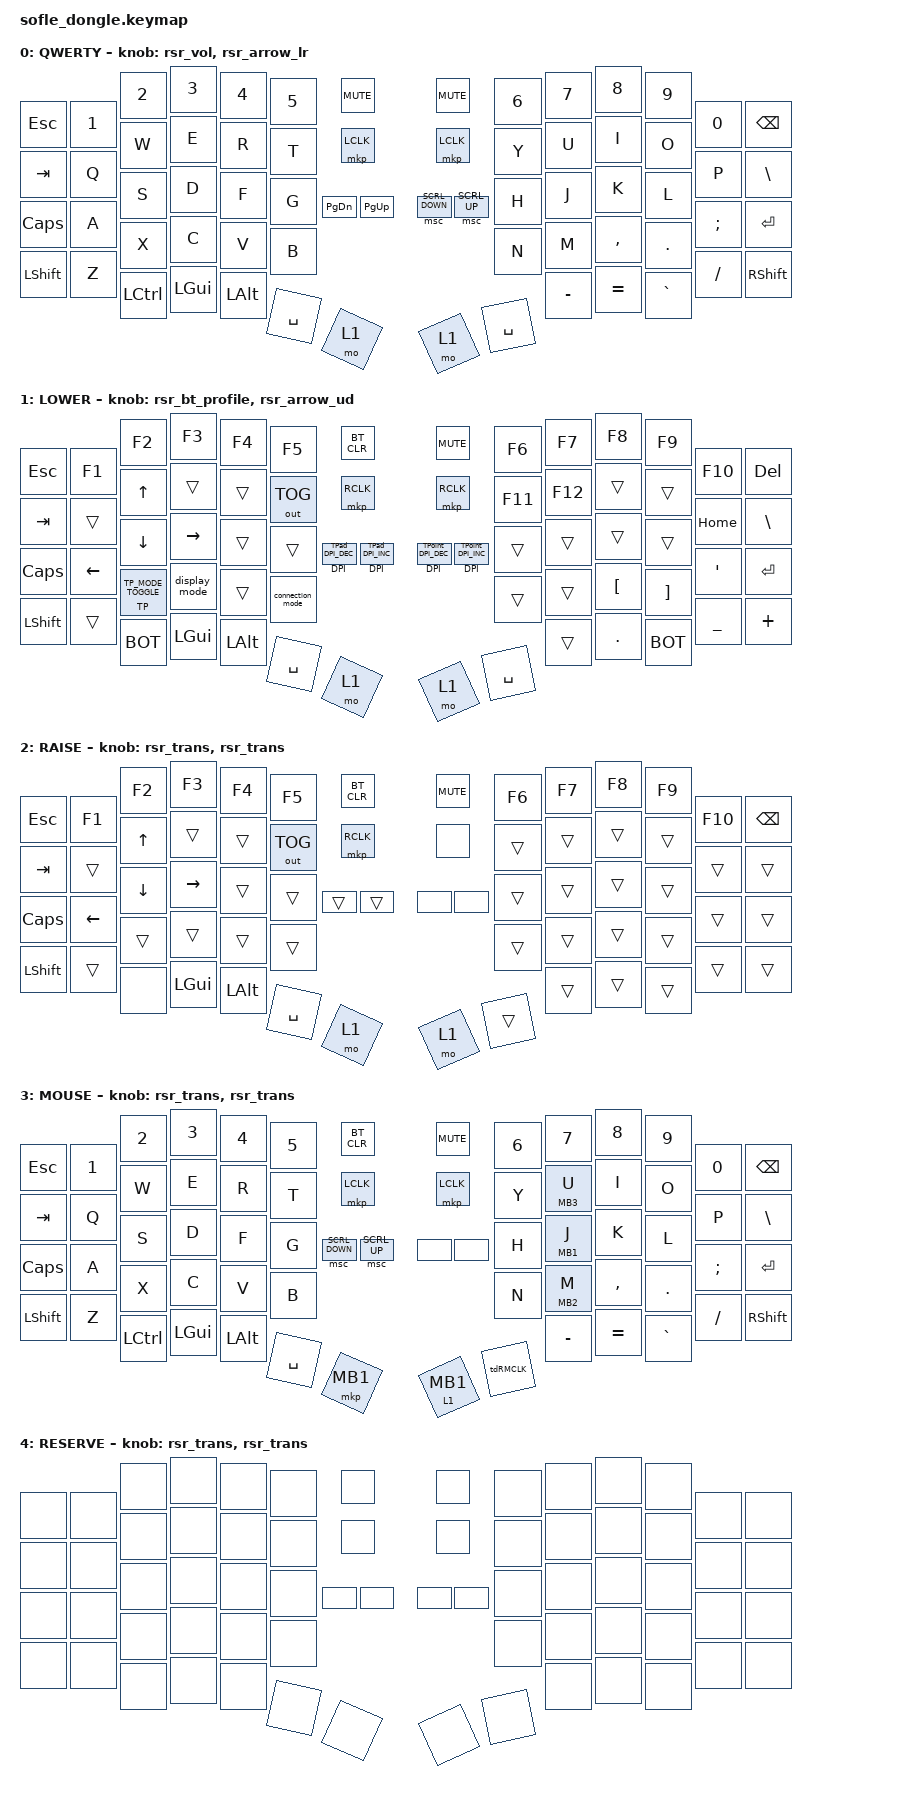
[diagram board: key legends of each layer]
/*
 * Copyright (c) 2025 ZitaoTech
 *
 * SPDX-License-Identifier: MIT
 */

/* Keep ZMK's native to-layer behavior compiled in, otherwise /omit-if-no-ref/ drops
 * the node and ZMK Studio cannot offer "To Layer".
 */
#define ZMK_BEHAVIORS_KEEP_KT
#define ZMK_BEHAVIORS_KEEP_TO

/* Keep the default-layer behavior in the devicetree even if no key is bound to
 * it: the per-endpoint / per-OS default layer is configured from ZitaoTech
 * Studio, and the module only compiles when its node exists. */
#define ZMK_BEHAVIORS_KEEP_DEFAULT_LAYER

#include <behaviors.dtsi>
#include <behaviors/configurable_mod_tap.dtsi>
#include <behaviors/layer_mod.dtsi>
#include <behaviors/mouse_key_toggle.dtsi>
/* The per-endpoint default layer (ZitaoTech Studio's "default layer" page). */
#include <behaviors/default_layer.dtsi>
/* Runtime rotary-encoder bindings: the encoders bind &rsr_*, whose
 * clockwise/counter-clockwise actions ZitaoTech Studio can change live. */
#include <behaviors/runtime-sensor-rotate.dtsi>
/* Runtime macro behavior (&rmacro <slot>): macro bodies are stored/edited from
 * ZitaoTech Studio through the custom settings subsystem. */
#include <behaviors/runtime_macro.dtsi>
#include <behaviors/runtime_tap_dance.dtsi>
#include <dt-bindings/zmk/keys.h>
#include <dt-bindings/zmk/bt.h>
#include <dt-bindings/zmk/outputs.h>
#include <dt-bindings/zmk/mouse.h>
#include <dt-bindings/zmk/ext_power.h>

#define FUNC 1
#define RES 2
#define BOT bootloader

/* 0 is the empty placeholder used by ZMK Studio, so the real values start at 1. */
#define TPad 1
#define TPoint 2
#define DPI_INC 1
#define DPI_DEC 2

/* &TP command code, mirroring custom_driver/behavior_trackpad_mode.c: toggle
 * the trackpad between pointer mode and direction mode.  The key does nothing
 * until "enable the mode switch key" is turned on in ZitaoTech Studio. */
#define TP_MODE_TOGGLE 0

/ {
    input_processors {

        zip_temp_layer: zip_temp_layer {
            compatible = "zmk,input-processor-temp-layer";
            #input-processor-cells = <2>;
        };

        ip_behaviors0: ip_behaviors0 {
            compatible = "zmk,input-processor-behaviors";
            #input-processor-cells = <0>;
            type = <INPUT_EV_KEY>;
            codes = <INPUT_BTN_0>;
            bindings = <&kp RIGHT>;
        };
        ip_behaviors1: ip_behaviors1 {
            compatible = "zmk,input-processor-behaviors";
            #input-processor-cells = <0>;
            type = <INPUT_EV_KEY>;
            codes = <INPUT_BTN_1>;
            bindings = <&kp LEFT>;
        };
        ip_behaviors2: ip_behaviors2 {
            compatible = "zmk,input-processor-behaviors";
            #input-processor-cells = <0>;
            type = <INPUT_EV_KEY>;
            codes = <INPUT_BTN_2>;
            bindings = <&kp DOWN>;
        };
        ip_behaviors3: ip_behaviors3 {
            compatible = "zmk,input-processor-behaviors";
            #input-processor-cells = <0>;
            type = <INPUT_EV_KEY>;
            codes = <INPUT_BTN_3>;
            bindings = <&kp UP>;
        };
    };
};

/ {

    behaviors {
        connection_mode: connection_mode { compatible = "zmk,behavior-keypoint-connection-mode"; #binding-cells = <0>; display-name = "MACINTOSCH OUTPUT SWITCH"; };
        display_mode: display_mode { compatible = "zmk,behavior-keypoint-display-mode"; #binding-cells = <0>; display-name = "SCREEN MODE SWITCH"; };
    };

    behaviors {
        mouse_lt: Mouse_Layer_Tap {
            compatible = "zmk,behavior-hold-tap";
            #binding-cells = <2>;
            flavor = "tap-preferred";
            tapping-term-ms = <250>;
            bindings = <&mo>, <&mkp>;
        };
    };

    behaviors {
    lt: Layer_Tap {
            compatible = "zmk,behavior-hold-tap";
            #binding-cells = <2>;
            flavor = "hold-preferred";
            tapping-term-ms = <400>;
            bindings = <&mo>, <&kp>;
        };
    };

    behaviors {
        tdRMCLK: tap_dance_R_LMouse {
            compatible = "zmk,behavior-tap-dance";
            #binding-cells = <0>;
            tapping-term-ms = <400>;
            bindings = <&mkp RCLK>, <&mkp MCLK>;
        };
    };

    behaviors {
        hm: Homerow_mods {
            compatible = "zmk,behavior-hold-tap";
            #binding-cells = <2>;
            tapping-term-ms = <500>;
            bindings = <&kp &kp>;
        };
    };

    behaviors {
         sp_sc: behavior_spacescroll {
           compatible = "zmk,behavior-hold-tap";
           #binding-cells = <2>;
           flavor = "tap-preferred";     /* 单击优先 */
           tapping-term-ms = <250>;       /* 长按阈值 */
           bindings = <&none &kp>;        /* hold=none, tap=space */
        };
    };

    behaviors {
         LMouse_sc: behavior_LMouse_Scroll {
           compatible = "zmk,behavior-hold-tap";
           #binding-cells = <2>;
           flavor = "tap-preferred";     /* 单击优先 */
           tapping-term-ms = <250>;       /* 长按阈值 */
           bindings = <&none &mkp>;        /* hold=none, tap=Lmouse */
        };
    };

    behaviors {
         M_kp: Mkey_keypress {
           compatible = "zmk,behavior-hold-tap";
           #binding-cells = <2>;
           flavor = "tap-preferred";     /* 单击优先 */
           tapping-term-ms = <250>;       /* 长按阈值 */
           bindings = <&mkp &kp>;        /* hold=mou key press, tap=key*/
        };
    };

    behaviors {
        BLE_encoder: BLE_encoder {
            compatible = "zmk,behavior-sensor-rotate";
            #sensor-binding-cells = <0>;
            bindings = <&bt BT_NXT>, <&bt BT_PRV>;
        };

        /* Factory encoder map, kept as the runtime behaviors' fallback so the
         * Studio-edited bindings start from the shipped feel:
         *   layer 0: left = volume, right = Left/Right arrow
         *   LOWER:   left = Bluetooth profile next/prev, right = Up/Down arrow
         * A layer's sensor-binding points at these nodes; a binding stored from
         * Studio overrides that node's defaults per layer. */
        rsr_vol: rsr_vol {
            compatible = "zmk,behavior-runtime-sensor-rotate";
            #sensor-binding-cells = <0>;
            tap-ms = <5>;
            cw-binding = <&kp C_VOL_UP>;
            ccw-binding = <&kp C_VOL_DN>;
        };

        rsr_arrow_lr: rsr_arrow_lr {
            compatible = "zmk,behavior-runtime-sensor-rotate";
            #sensor-binding-cells = <0>;
            tap-ms = <5>;
            cw-binding = <&kp RIGHT>;
            ccw-binding = <&kp LEFT>;
        };

        rsr_bt_profile: rsr_bt_profile {
            compatible = "zmk,behavior-runtime-sensor-rotate";
            #sensor-binding-cells = <0>;
            tap-ms = <5>;
            cw-binding = <&bt BT_NXT>;
            ccw-binding = <&bt BT_PRV>;
        };

        rsr_arrow_ud: rsr_arrow_ud {
            compatible = "zmk,behavior-runtime-sensor-rotate";
            #sensor-binding-cells = <0>;
            tap-ms = <5>;
            cw-binding = <&kp DOWN>;
            ccw-binding = <&kp UP>;
        };
    };

    keymap {
        compatible = "zmk,keymap";

         default_layer {
            display-name = "QWERTY";
           bindings = <
&kp ESC   &kp N1   &kp N2     &kp N3   &kp N4    &kp N5    &kp C_MUTE                   &kp C_MUTE                     &kp N6      &kp N7      &kp N8    &kp N9    &kp N0   &kp BSPC
&kp TAB   &kp Q    &kp W      &kp E    &kp R     &kp T                                                                 &kp Y       &kp U       &kp I     &kp O     &kp P    &kp BSLH
&kp CAPS  &kp A    &kp S      &kp D    &kp F     &kp G     &mkp LCLK                    &mkp LCLK                      &kp H       &kp J       &kp K     &kp L     &kp SEMI &kp ENTER
&kp LSHFT &kp Z    &kp X      &kp C    &kp V     &kp B     &kp PG_DN  &kp PG_UP         &msc SCRL_DOWN  &msc SCRL_UP   &kp N       &kp M       &kp COMMA &kp DOT   &kp FSLH &kp RSHIFT
                   &kp LCTRL  &kp LGUI &kp LALT  &kp SPACE &mo 1                                        &mo 1          &kp SPACE   &kp MINUS   &kp EQUAL    &kp GRAVE
           >;
           /* Runtime encoder map: one entry per encoder (left half, then right
            * half).  The &rsr_* behaviours carry the factory defaults and can be
            * re-bound live from ZitaoTech Studio. */
           sensor-bindings = <&rsr_vol &rsr_arrow_lr>;
        };


        lower_layer {
            display-name = "LOWER";
            bindings = <
&kp ESC     &kp F1    &kp F2     &kp F3    &kp F4    &kp F5           &bt BT_CLR                   &kp C_MUTE             &kp F6    &kp F7   &kp F8     &kp F9    &kp F10    &kp DEL
&kp TAB     &trans    &kp UP     &trans    &trans    &out OUT_TOG                                                         &kp F11   &kp F12  &trans     &trans    &kp HOME   &kp BSLH
&kp CAPS    &kp LEFT  &kp DOWN   &kp RIGHT &trans    &trans           &mkp RCLK                    &mkp RCLK              &trans    &trans   &trans     &trans    &kp SQT    &kp ENTER
&kp LSHFT   &trans    &TP TP_MODE_TOGGLE &display_mode    &trans    &connection_mode  &DPI TPad DPI_DEC &DPI TPad DPI_INC  &DPI TPoint DPI_DEC &DPI TPoint DPI_INC &trans &trans &kp LBKT &kp RBKT &kp UNDER &kp PLUS
                      &BOT       &kp LGUI  &kp LALT  &kp SPACE        &mo 1                                     &mo 1     &kp SPACE &trans   &kp DOT    &BOT
            >;
            sensor-bindings = <&rsr_bt_profile &rsr_arrow_ud>;
        };
        raise_layer {
            display-name = "RAISE";
            bindings = <
&kp ESC     &kp F1    &kp F2     &kp F3    &kp F4    &kp F5           &bt BT_CLR                      &kp C_MUTE       &kp F6     &kp F7    &kp F8    &kp F9    &kp F10    &kp BSPC
&kp TAB     &trans    &kp UP     &trans    &trans    &out OUT_TOG                                                      &trans     &trans    &trans    &trans    &trans     &trans
&kp CAPS    &kp LEFT  &kp DOWN   &kp RIGHT &trans    &trans           &mkp RCLK                       &none            &trans     &trans    &trans    &trans    &trans     &trans
&kp LSHFT   &trans    &trans     &trans    &trans    &trans  &trans     &trans               &none  &none     &trans     &trans    &trans    &trans    &trans     &trans
                      &none      &kp LGUI  &kp LALT  &kp SPACE        &mo 1                                  &mo 1     &trans     &trans     &trans     &trans
            >;
            sensor-bindings = <&rsr_trans &rsr_trans>;
        };
        MOUSE_layer {
            display-name = "MOUSE";
            bindings = <
&kp ESC   &kp N1    &kp N2     &kp N3   &kp N4   &kp N5     &bt BT_CLR                       &kp C_MUTE       &kp N6     &kp N7         &kp N8    &kp N9    &kp N0   &kp BSPC
&kp TAB   &kp Q     &kp W      &kp E    &kp R    &kp T                                                        &kp Y      &M_kp MB3 U    &kp I     &kp O     &kp P    &kp BSLH
&kp CAPS  &kp A     &kp S      &kp D    &kp F    &kp G      &mkp LCLK                        &mkp LCLK        &kp H      &M_kp MB1 J    &kp K     &kp L     &kp SEMI &kp ENTER
&kp LSHFT &kp Z     &kp X      &kp C    &kp V    &kp B      &msc SCRL_DOWN   &msc SCRL_UP    &none  &none     &kp N      &M_kp MB2 M    &kp COMMA &kp DOT   &kp FSLH &kp RSHIFT
                    &kp LCTRL  &kp LGUI &kp LALT &kp SPACE  &mkp MB1                         &mouse_lt 1 MB1 &tdRMCLK   &kp MINUS      &kp EQUAL    &kp GRAVE
           >;
            sensor-bindings = <&rsr_trans &rsr_trans>;
        };
        RES_layer {
            display-name = "RESERVE";
            bindings = <
&none     &none     &none      &none    &none    &none   &none                        &none            &none   &none  &none   &none  &none  &none
&none     &none     &none      &none    &none    &none                                                 &none   &none  &none   &none  &none  &none
&none     &none     &none      &none    &none    &none   &none                        &none            &none   &none  &none   &none  &none  &none
&none     &none     &none      &none    &none    &none   &none   &none                &none  &none     &none   &none  &none   &none  &none  &none
                    &none      &none    &none    &none   &none                                         &none   &none  &none   &none  &none
            >;
            sensor-bindings = <&rsr_trans &rsr_trans>;
        };

        /*
         * Spare layer slots for ZitaoTech Studio.
         *
         * With CONFIG_ZMK_KEYMAP_LAYER_REORDERING (pulled in by ZMK_STUDIO_RPC)
         * every child of this node counts as a layer position, but non-"okay"
         * nodes stay unassigned - which is exactly what
         * zmk_keymap_add_layer() looks for to add a layer at runtime.  Their key bindings stay empty; runtime encoder dispatch remains wired
         * so layers added in Studio can use per-layer rotary settings.  Same trick as cormoran's
         * dya2 keymap (extra1..extra4 { status = "reserved"; }).
         *
         * Without at least one of these the central reports
         * available_layers = 0 and Studio's "Add new layer" button stays
         * disabled.  The peripheral half does not enable layer reordering, so
         * for it only the "okay" layers above exist and this costs it nothing.
         */
        extra1 { status = "reserved"; sensor-bindings = <&rsr_trans &rsr_trans>; };
        extra2 { status = "reserved"; sensor-bindings = <&rsr_trans &rsr_trans>; };
        extra3 { status = "reserved"; sensor-bindings = <&rsr_trans &rsr_trans>; };
        extra4 { status = "reserved"; sensor-bindings = <&rsr_trans &rsr_trans>; };
    };
};
